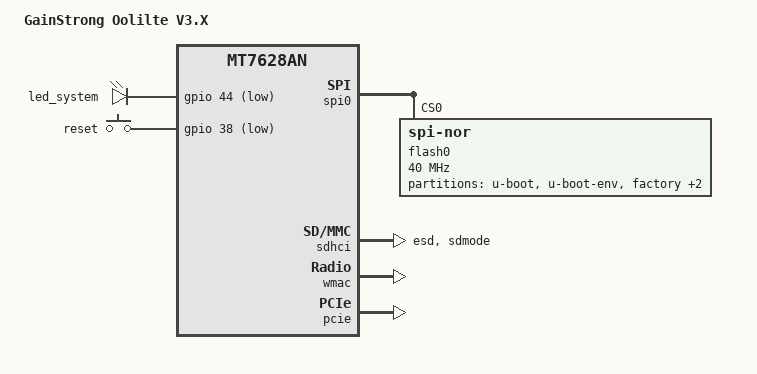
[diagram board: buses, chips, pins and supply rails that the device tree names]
#include "mt7628an.dtsi"

#include <dt-bindings/gpio/gpio.h>
#include <dt-bindings/input/input.h>


/ {
	compatible = "gainstrong,oolite-v3.x", "mediatek,mt7628an-soc";
	model = "GainStrong Oolilte V3.X";

	aliases {
		led-boot = &led_system;
		led-failsafe = &led_system;
		led-running = &led_system;
		led-upgrade = &led_system;
	};

	leds {
		compatible = "gpio-leds";

		led_system: led_system {
			label = "led_system";
			gpios = <&gpio 44 GPIO_ACTIVE_LOW>;
			default-state = "on";
		};
	};

	keys {
		compatible = "gpio-keys";

		wps {
			label = "reset";
			gpios = <&gpio 38 GPIO_ACTIVE_LOW>;
			linux,code = <KEY_RESTART>;
		};
	};
};

&spi0 {
	status = "okay";

	flash0: flash@0 {
		compatible = "jedec,spi-nor";
		reg = <0>;
		spi-max-frequency = <40000000>;
		broken-flash-reset;

		partitions {
			compatible = "fixed-partitions";
			#address-cells = <1>;
			#size-cells = <1>;

			partition@0 {
				label = "u-boot";
				reg = <0x0 0x30000>;
				read-only;
			};

			partition@30000 {
				label = "u-boot-env";
				reg = <0x30000 0x10000>;
			};

			partition@40000 {
				label = "factory";
				reg = <0x40000 0x10000>;
				read-only;

				nvmem-layout {
					compatible = "fixed-layout";
					#address-cells = <1>;
					#size-cells = <1>;

					eeprom_factory_0: eeprom@0 {
						reg = <0x0 0x400>;
					};

					macaddr_factory_28: macaddr@28 {
						reg = <0x28 0x6>;
					};
				};
			};

			firmware: partition@50000 {
				compatible = "denx,uimage";
				label = "firmware";
				reg = <0x50000 0x0>;
			};

			all: full_flash {
				label = "all";
				reg = <0x0 0x0>;
				read-only;
			};
		};
	};
};

&state_default {
	gpio {
		groups = "wdt", "wled_an";
		function = "gpio";
	};
};

&pinctrl {
	ephy-digital;

	sdxc_iot_mode: sdxc_iot_mode {
		esd {
			groups = "esd";
			function = "iot";
		};

		sdxc {
			groups = "sdmode";
			function = "sdxc";
		};
	};
};

&sdhci {
	status = "okay";

	pinctrl-0 = <&sdxc_iot_mode>;
	pinctrl-1 = <&sdxc_iot_mode>;
};

&ethernet {
	nvmem-cells = <&macaddr_factory_28>;
	nvmem-cell-names = "mac-address";
};

&wmac {
	status = "okay";

	nvmem-cells = <&eeprom_factory_0>;
	nvmem-cell-names = "eeprom";
};

&pcie {
	status = "okay";
};
